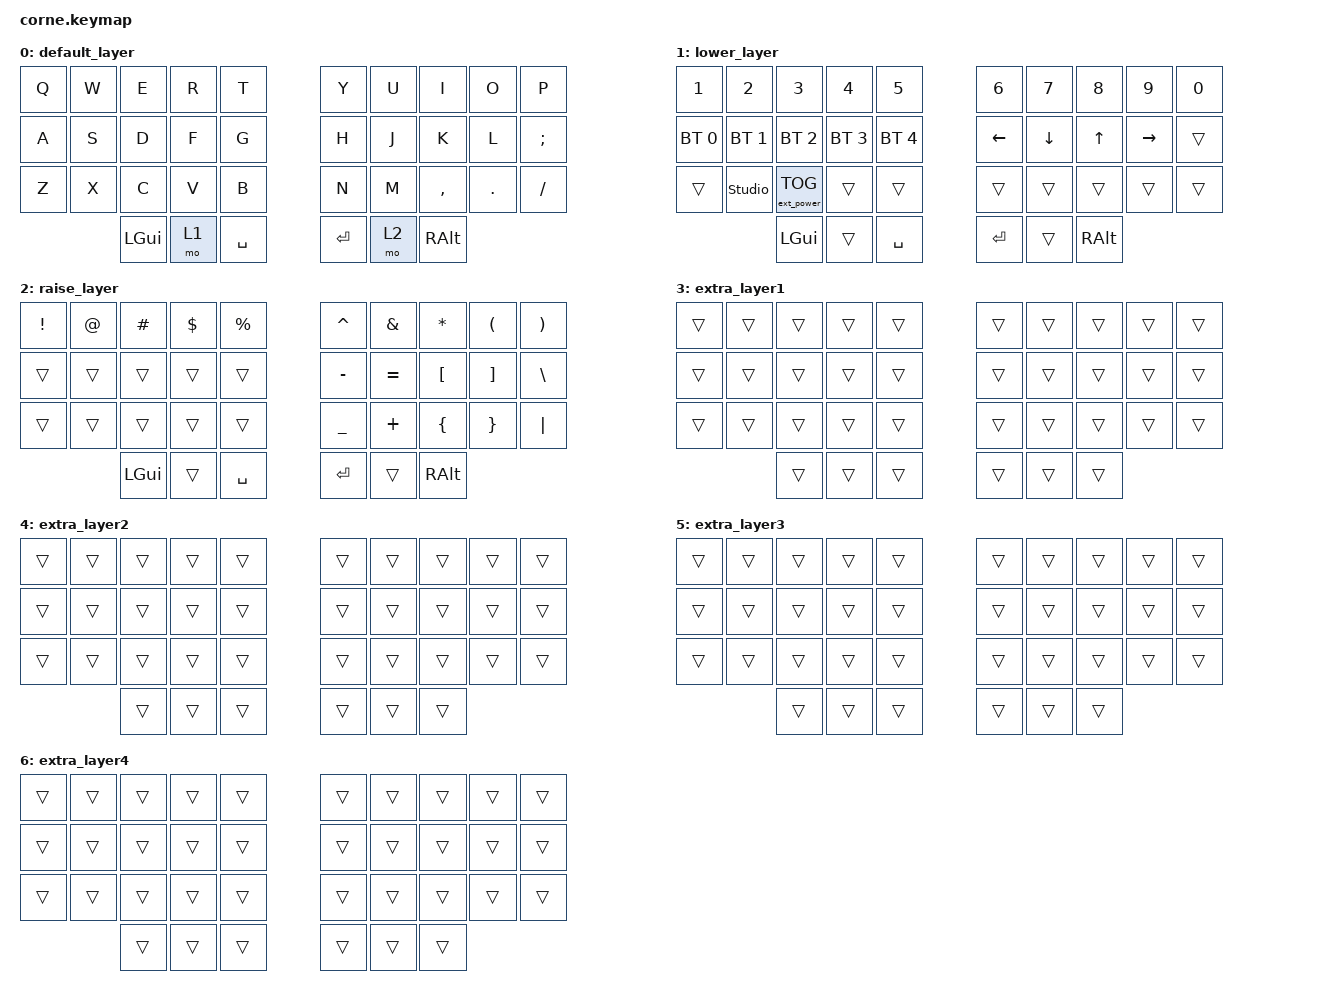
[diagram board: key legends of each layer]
/*
 * Copyright (c) 2020 The ZMK Contributors
 *
 * SPDX-License-Identifier: MIT
 */

#include <behaviors.dtsi>

#include <dt-bindings/zmk/keys.h>
#include <dt-bindings/zmk/bt.h>
#include <dt-bindings/zmk/ext_power.h>

#include <locale/keys_fr.h>
#include <behaviors/socd.dtsi>

/ {
        macros {
                two_key_press: two-key-press {
                        compatible = "zmk,behavior-macro-two-param";
                        #binding-cells = <2>;
                        bindings = <&macro_param_1to1 &kp MACRO_PLACEHOLDER &macro_param_2to1 &kp MACRO_PLACEHOLDER>;
                };
                caps_one_key_press: caps_one_key_press {
                        compatible = "zmk,behavior-macro-one-param";
                        #binding-cells = <1>;
                        bindings = <&kp CAPS &macro_param_1to1 &kp MACRO_PLACEHOLDER &kp CAPS>;
                };
        };


        #define SHIFT_MORPH_CAPSLOCK(NAME, KEY) \
                NAME: NAME { \
                        compatible = "zmk,behavior-mod-morph"; \
                        #binding-cells = <0>; \
                        bindings = <&kp KEY>, <&caps_one_key_press KEY>; \
                        mods = <(MOD_LSFT|MOD_RSFT)>; \
                        keep-mods = <0>; \
                };
        #define SHIFT_MORPH_SHIFT_2KEY(NAME, KEY1, KEY2) \
                NAME: NAME { \
                        compatible = "zmk,behavior-mod-morph"; \
                        #binding-cells = <0>; \
                        bindings = <&two_key_press KEY1 KEY2>, <&two_key_press KEY1 LS(KEY2)>; \
                        mods = <(MOD_LSFT|MOD_RSFT)>; \
                        keep-mods = <0>; \
                };

        behaviors {
                layer_tap_hold: layer-tap-hold {
                        compatible = "zmk,behavior-hold-tap";                     
                        #binding-cells = <2>;
                        flavor = "tap-unless-interrupted"; 
                        tapping-term-ms = <250>; 
                        bindings = <&mo>, <&kp>;
                };
                mod_tap_hold: mod-tap-hold {
                        compatible = "zmk,behavior-hold-tap";                     
                        #binding-cells = <2>;
                        flavor = "tap-unless-interrupted"; 
                        tapping-term-ms = <250>; 
                        bindings = <&kp>, <&kp>;
                };
                snaptap: snaptap {
                        compatible = "zmk,behavior-socd";
                        #binding-cells = <1>;
                        bindings = <&kp>;
                };
                SHIFT_MORPH_CAPSLOCK(e_acute, FR_E_ACUTE)
                SHIFT_MORPH_CAPSLOCK(e_grave, FR_E_GRAVE)
                SHIFT_MORPH_CAPSLOCK(a_grave, FR_A_GRAVE)
                SHIFT_MORPH_CAPSLOCK(c_cedilla, FR_C_CEDILLA)
                SHIFT_MORPH_CAPSLOCK(u_grave, FR_U_GRAVE)
                SHIFT_MORPH_SHIFT_2KEY(a_circ, FR_CARET, FR_A)
                SHIFT_MORPH_SHIFT_2KEY(e_circ, FR_CARET, FR_E)
                SHIFT_MORPH_SHIFT_2KEY(i_circ, FR_CARET, FR_I)
                SHIFT_MORPH_SHIFT_2KEY(o_circ, FR_CARET, FR_O)
                SHIFT_MORPH_SHIFT_2KEY(u_circ, FR_CARET, FR_U)
        };

        keymap {
                compatible = "zmk,keymap";

                default_layer {
// -----------------------------------------------------------------------------------------
// |  TAB |  Q  |  W  |  E  |  R  |  T  |   |  Y  |  U   |  I  |  O  |  P  | BSPC |
// | CTRL |  A  |  S  |  D  |  F  |  G  |   |  H  |  J   |  K  |  L  |  ;  |  '   |
// | SHFT |  Z  |  X  |  C  |  V  |  B  |   |  N  |  M   |  ,  |  .  |  /  | ESC  |
//                    | GUI | LWR | SPC |   | ENT | RSE  | ALT |
                        bindings = <
   &kp Q &kp W &kp E &kp R &kp T   &kp Y &kp U  &kp I      &kp O   &kp P
   &kp A &kp S &kp D &kp F &kp G   &kp H &kp J  &kp K      &kp L   &kp SEMI
   &kp Z &kp X &kp C &kp V &kp B   &kp N &kp M  &kp COMMA &kp DOT &kp FSLH
                  &kp LGUI &mo 1 &kp SPACE   &kp RET &mo 2 &kp RALT
                        >;
                };

                lower_layer {
// -----------------------------------------------------------------------------------------
// |  TAB |  1  |  2  |  3  |  4  |  5  |   |  6  |  7  |  8  |  9  |  0  | BSPC |
// | BTCLR| BT1 | BT2 | BT3 | BT4 | BT5 |   | LFT | DWN |  UP | RGT |     |      |
// | SHFT |     |     |     |     |     |   |     |     |     |     |     |      |
//                    | GUI |     | SPC |   | ENT |     | ALT |
                        bindings = <
   &kp N1       &kp N2       &kp N3       &kp N4       &kp N5         &kp N6   &kp N7   &kp N8 &kp N9    &kp N0
   &bt BT_SEL 0 &bt BT_SEL 1 &bt BT_SEL 2 &bt BT_SEL 3 &bt BT_SEL 4   &kp LEFT &kp DOWN &kp UP &kp RIGHT &trans
   &trans       &studio_unlock       &ext_power EP_TOG       &trans       &trans         &trans   &trans   &trans &trans    &trans
             &kp LGUI     &trans  &kp SPACE      &kp RET  &trans   &kp RALT
                        >;
                };

                raise_layer {
// -----------------------------------------------------------------------------------------
// |  TAB |  !  |  @  |  #  |  $  |  %  |   |  ^  |  &  |  * |  (  |  )  | BSPC |
// | CTRL |     |     |     |     |     |   |  -  |  =  |  [  |  ]  |  \  |  `   |
// | SHFT |     |     |     |     |     |   |  _  |  +  |  {  |  }  | "|" |  ~   |
//                    | GUI |     | SPC |   | ENT |     | ALT |
                        bindings = <
   &kp EXCL &kp AT &kp HASH &kp DLLR &kp PRCNT   &kp CARET &kp AMPS  &kp ASTRK &kp LPAR &kp RPAR
   &trans   &trans &trans   &trans   &trans      &kp MINUS &kp EQUAL &kp LBKT  &kp RBKT &kp BSLH
   &trans   &trans &trans   &trans   &trans      &kp UNDER &kp PLUS  &kp LBRC  &kp RBRC &kp PIPE
                             &kp LGUI &trans   &kp SPACE   &kp RET   &trans    &kp RALT
                        >;
                };

                extra_layer1 {
                        bindings = <
   &trans &trans &trans &trans &trans &trans &trans &trans &trans &trans
   &trans &trans &trans &trans &trans &trans &trans &trans &trans &trans
   &trans &trans &trans &trans &trans &trans &trans &trans &trans &trans
                        &trans &trans &trans &trans &trans &trans
                        >;
                };

                extra_layer2 {
                        bindings = <
   &trans &trans &trans &trans &trans &trans &trans &trans &trans &trans
   &trans &trans &trans &trans &trans &trans &trans &trans &trans &trans
   &trans &trans &trans &trans &trans &trans &trans &trans &trans &trans
                        &trans &trans &trans &trans &trans &trans
                        >;
                };

                extra_layer3 {
                        bindings = <
   &trans &trans &trans &trans &trans &trans &trans &trans &trans &trans
   &trans &trans &trans &trans &trans &trans &trans &trans &trans &trans
   &trans &trans &trans &trans &trans &trans &trans &trans &trans &trans
                        &trans &trans &trans &trans &trans &trans
                        >;
                };

                extra_layer4 {
                        bindings = <
   &trans &trans &trans &trans &trans &trans &trans &trans &trans &trans
   &trans &trans &trans &trans &trans &trans &trans &trans &trans &trans
   &trans &trans &trans &trans &trans &trans &trans &trans &trans &trans
                        &trans &trans &trans &trans &trans &trans
                        >;
                };
        };
};
